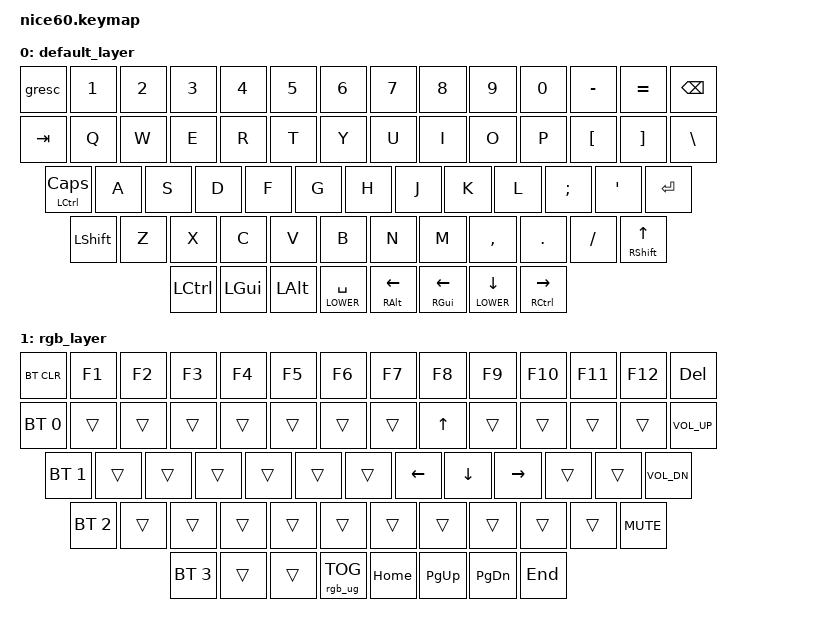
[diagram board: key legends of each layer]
/*
 * Copyright (c) 2021 Nick Winans
 *
 * SPDX-License-Identifier: MIT
 */

#include <behaviors.dtsi>
#include <dt-bindings/zmk/keys.h>
#include <dt-bindings/zmk/rgb.h>
#include <dt-bindings/zmk/bt.h>
#include <dt-bindings/zmk/outputs.h>
#include <dt-bindings/zmk/reset.h>
#include <dt-bindings/zmk/ext_power.h>


#define DEFAULT 0
#define LOWER   1


/ {
	keymap {
		compatible = "zmk,keymap";
		
		default_layer {
// ------------------------------------------------------------------------------------------
// | ESC |  1  |  2  |  3  |  4  |  5  |  6  |  7  |  8  |  9  |  0  |  -  |  =  |   BKSP   |
// | TAB  |  Q  |  W  |  E  |  R  |  T  |  Y  |  U  |  I  |  O  |  P  |  [  |  ]  |   "|"   |
// | CAPS  |  A  |  S  |  D  |  F  |  G  |  H  |  J  |  K  |  L  |  ;  |  '  |      ENTER   |
// | SHIFT  |  Z  |  X  |  C  |  V  |  B  |  N  |  M  |  ,  |  .  |  /  |           SHIFT   |
// | CTL    | WIN | ALT |            SPACE               |  ALT   |  WIN  |  MO(1) |  CTL   |
// ------------------------------------------------------------------------------------------
			bindings = <
	&gresc        &kp N1 &kp N2 &kp N3 &kp N4 &kp N5 &kp N6 &kp N7 &kp N8 &kp N9 &kp N0 &kp MINUS &kp EQUAL   &kp BSPC
	&kp TAB        &kp Q  &kp W  &kp E  &kp R  &kp T  &kp Y  &kp U  &kp I  &kp O  &kp P  &kp LBKT  &kp RBKT   &kp BSLH
	&mt LCTRL CLCK  &kp A  &kp S  &kp D  &kp F  &kp G  &kp H  &kp J  &kp K  &kp L  &kp SEMI &kp SQT            &kp RET
	&kp LSHFT        &kp Z  &kp X  &kp C  &kp V  &kp B  &kp N  &kp M  &kp COMMA &kp DOT &kp FSLH          &mt RSHFT UP
	&kp LCTRL        &kp LGUI &kp LALT  &lt LOWER SPACE  &mt RALT LEFT  &mt RGUI LEFT  &lt LOWER DOWN  &mt RCTRL RIGHT
			>;
		};

		rgb_layer {
// ------------------------------------------------------------------------------------------------
// | BT CLR | F1  | F2  | F3  | F4  | F5  | F6  | F7  | F8  | F9  | F10  | F11 | F12 |       DEL  |
// |  BT 1   |     |     |     |     |     |     |     | UP  |     |      |     |     |   VOL UP  |
// |   BT 2   |     |     |     |     |     |     | LT  | DN  | RT  |      |     |        VOL DN  |
// |    BT 3   |     |     |     |     |     |     |     |     |     |      |               MUTE  |
// |     BT 4  |     |     |             TOG RGB               |  HOME  |  PGUP  |  PGDN  |  END  |
// ------------------------------------------------------------------------------------------------
			bindings = <
	&bt BT_CLR   &kp F1   &kp F2  &kp F3   &kp F4   &kp F5   &kp F6   &kp F7    &kp F8    &kp F9     &kp F10  &kp F11 &kp F12       &kp DEL
	&bt BT_SEL 0  &trans   &trans  &trans   &trans   &trans   &trans   &trans    &kp UP    &trans     &trans   &trans  &trans  &kp C_VOL_UP  
	&bt BT_SEL 1   &trans   &trans  &trans   &trans   &trans   &trans   &kp LEFT  &kp DOWN  &kp RIGHT  &trans   &trans         &kp C_VOL_DN
	&bt BT_SEL 2    &trans   &trans  &trans   &trans   &trans   &trans   &trans    &trans    &trans     &trans                   &kp C_MUTE
	&bt BT_SEL 3    &trans   &trans                       &rgb_ug RGB_TOG                           &kp HOME  &kp PG_UP  &kp PG_DN  &kp END
			>;
		};
	};
};
